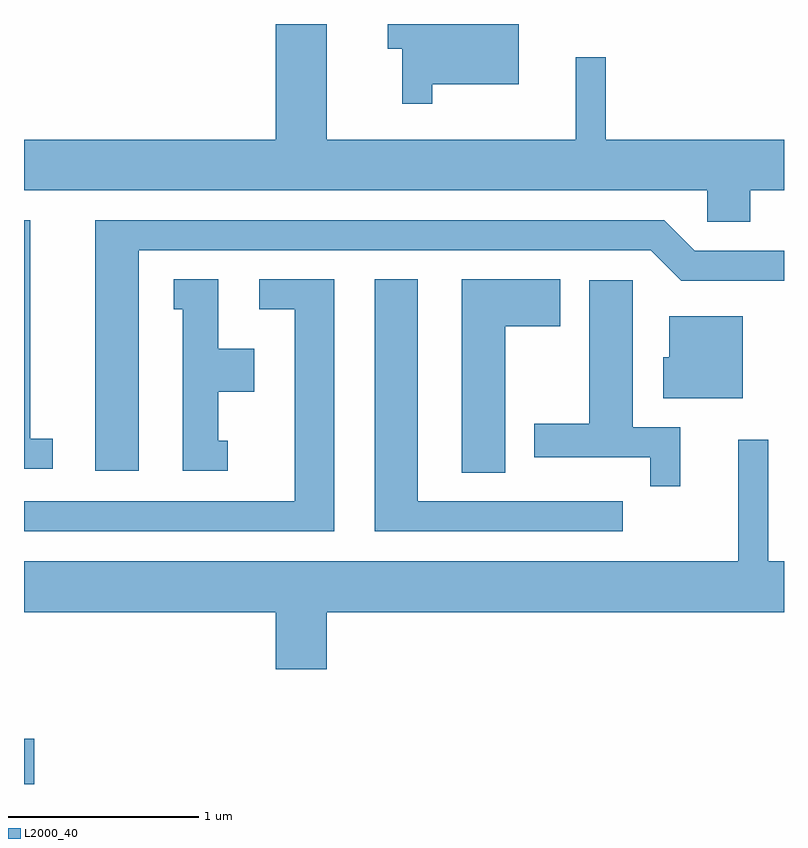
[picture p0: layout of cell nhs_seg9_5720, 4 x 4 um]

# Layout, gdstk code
import gdstk
lib = gdstk.Library(unit=1e-6, precision=1e-09)
def R(c, l, rs):  # rectangles x0, y0, x1, y1
    for r in rs: c.add(gdstk.rectangle(r[:2], r[2:], *l))
def P(c, l, *ps):  # polygons
    for p in ps: c.add(gdstk.Polygon(p, *l))
L2000_40 = (2000, 40)

nhs_seg9_5720 = lib.new_cell('nhs_seg9_5720')
R(nhs_seg9_5720, L2000_40, [(353.611,2026.432,353.664,2026.669)])
P(nhs_seg9_5720, L2000_40, [(357.434,2029.556),(357.611,2029.556),(357.611,2029.824),(356.674,2029.824),(356.674,2030.258),(356.516,2030.258),(356.516,2029.824),(355.204,2029.824),(355.204,2030.432),(354.936,2030.432),(354.936,2029.824),(353.611,2029.824),(353.611,2029.556),(357.206,2029.556),(357.206,2029.391),(357.434,2029.391)],
  [(355.759,2030.116),(356.214,2030.116),(356.214,2030.432),(355.526,2030.432),(355.526,2030.301),(355.601,2030.301),(355.601,2030.013),(355.759,2030.013)],
  [(354.214,2029.241),(356.909,2029.241),(357.069,2029.081),(357.611,2029.081),(357.611,2029.239),(357.142,2029.239),(356.982,2029.399),(353.986,2029.399),(353.986,2028.081),(354.214,2028.081)],
  [(353.763,2028.249),(353.644,2028.249),(353.644,2029.399),(353.611,2029.399),(353.611,2028.091),(353.763,2028.091)],
  [(356.763,2027.919),(355.684,2027.919),(355.684,2029.089),(355.456,2029.089),(355.456,2027.761),(356.763,2027.761)],
  [(355.244,2029.089),(354.848,2029.089),(354.848,2028.931),(355.036,2028.931),(355.036,2027.919),(353.611,2027.919),(353.611,2027.761),(355.244,2027.761)],
  [(354.683,2028.239),(354.634,2028.239),(354.634,2028.496),(354.824,2028.496),(354.824,2028.724),(354.634,2028.724),(354.634,2029.089),(354.398,2029.089),(354.398,2028.931),(354.446,2028.931),(354.446,2028.081),(354.683,2028.081)],
  [(356.144,2028.841),(356.434,2028.841),(356.434,2029.089),(355.916,2029.089),(355.916,2028.071),(356.144,2028.071)],
  [(357.064,2028.309),(356.814,2028.309),(356.814,2029.084),(356.586,2029.084),(356.586,2028.329),(356.296,2028.329),(356.296,2028.151),(356.906,2028.151),(356.906,2027.998),(357.064,2027.998)],
  [(357.394,2028.894),(357.006,2028.894),(357.006,2028.679),(356.976,2028.679),(356.976,2028.461),(357.394,2028.461)],
  [(355.204,2027.336),(357.611,2027.336),(357.611,2027.604),(357.529,2027.604),(357.529,2028.243),(357.371,2028.243),(357.371,2027.604),(353.611,2027.604),(353.611,2027.336),(354.936,2027.336),(354.936,2027.036),(355.204,2027.036)])

lib.write_gds('nhs_seg9_5720.gds')
